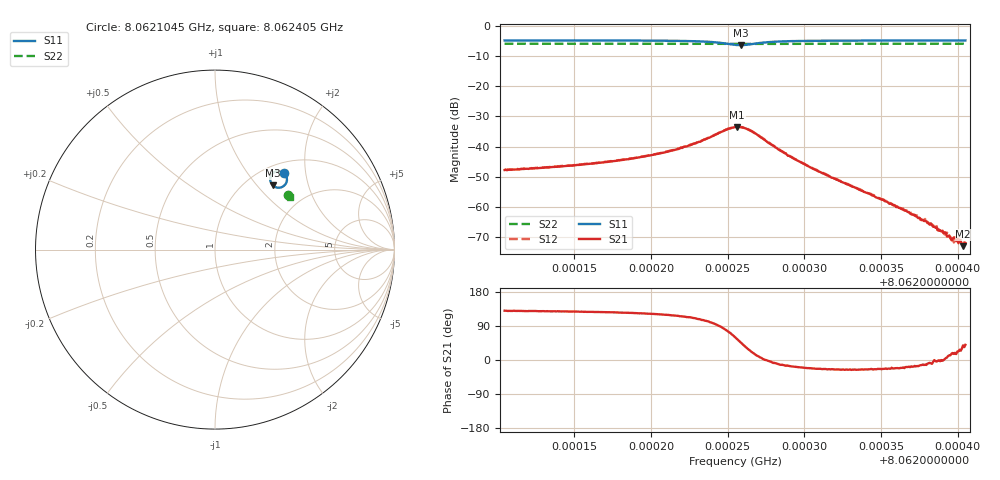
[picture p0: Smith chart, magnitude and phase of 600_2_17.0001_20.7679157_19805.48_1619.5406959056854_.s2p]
#  HZ  S  RI  R  50.00
! Rohde & Schwarz Vector Network Analyzer
! Rohde-Schwarz,ZNB20-2Port,1311601062101988,3.16
! Created: UTC 3/20/2024, 11:18:59 PM
! freq[Hz]  re:S11  im:S11  re:S21  im:S21  re:S12  im:S12  re:S22  im:S22
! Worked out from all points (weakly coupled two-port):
!   401 points, 8.0621045 GHz to 8.062405 GHz, reference 50 ohm
!   highest |S21| = -33.45 dB at 8.0622563 GHz (marker M1); lowest = -73.0 dB at 8.0624035 GHz (marker M2)
!   lowest |S11| = -6.3 dB at 8.0622585 GHz (marker M3), VSWR 2.86, Z = 65.4 + j60.9 ohm
!   |S11| at or under -10 dB: nowhere
!   |S22| runs from -6.0 to -5.9 dB; largest |S21 - S12| = 0.0013
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8.06210452e9  0.3844 0.4288  -0.00264 0.00313  -0.00244 0.00332  0.4066 0.3056
8.06215486e9  0.3899 0.4228  -0.00308 0.00399  -0.00288 0.00419  0.4083 0.3029
8.06218641e9  0.3944 0.4162  -0.00354 0.00517  -0.00326 0.00551  0.4094 0.3011
8.06220519e9  0.3978 0.4092  -0.00391 0.00659  -0.00353 0.00688  0.4103 0.2999
8.06222773e9  0.4013 0.3911  -0.00393 0.0104  -0.00329 0.0106  0.4108 0.2979
8.0622435e9  0.3901 0.3613  -0.000463 0.0164  0.000396 0.0166  0.4105 0.296
8.06225477e9  0.3426 0.3463  0.0105 0.0183  0.0115 0.0177  0.4086 0.2953
8.06225628e9  0.334 0.3495  0.0123 0.0174  0.0133 0.0167  0.4083 0.2955
8.06225853e9  0.3224 0.3577  0.0146 0.0152  0.0155 0.0145  0.4079 0.2961
8.06226454e9  0.3078 0.3897  0.0168 0.00785  0.0175 0.00687  0.4079 0.2974
8.06227581e9  0.326 0.4284  0.012 -0.000302  0.0121 -0.00103  0.4097 0.2983
8.06229008e9  0.3497 0.4378  0.0068 -0.00189  0.00673 -0.00232  0.4112 0.2977
8.06230511e9  0.3625 0.4375  0.00405 -0.00165  0.00402 -0.00191  0.4124 0.2966
8.06235544e9  0.3795 0.4312  0.00104 -0.000437  0.00104 -0.000531  0.4147 0.2939
8.06236821e9  0.3817 0.43  0.000784 -0.00025  0.000755 -0.000334  0.4151 0.2931
8.06237572e9  0.3829 0.4293  0.000619 -0.000152  0.000583 -0.000183  0.4155 0.2927
8.06237948e9  0.3834 0.4289  0.000566 -0.000132  0.000528 -0.000129  0.4156 0.2924
8.06239075e9  0.3849 0.4279  0.00037 -2.94e-06  0.000368 -5.82e-06  0.4161 0.2919
8.06239375e9  0.3852 0.4276  0.00032 5.93e-05  0.000346 1.64e-05  0.4162 0.2917
8.06239676e9  0.3855 0.4274  0.000285 9.54e-05  0.000278 7.68e-05  0.4163 0.2915
8.06240352e9  0.3864 0.4269  0.000174 0.00014  0.000242 0.000134  0.4165 0.2913
8.06240502e9  0.3865 0.4267  0.000194 0.000163  0.000213 0.000112  0.4167 0.2912
